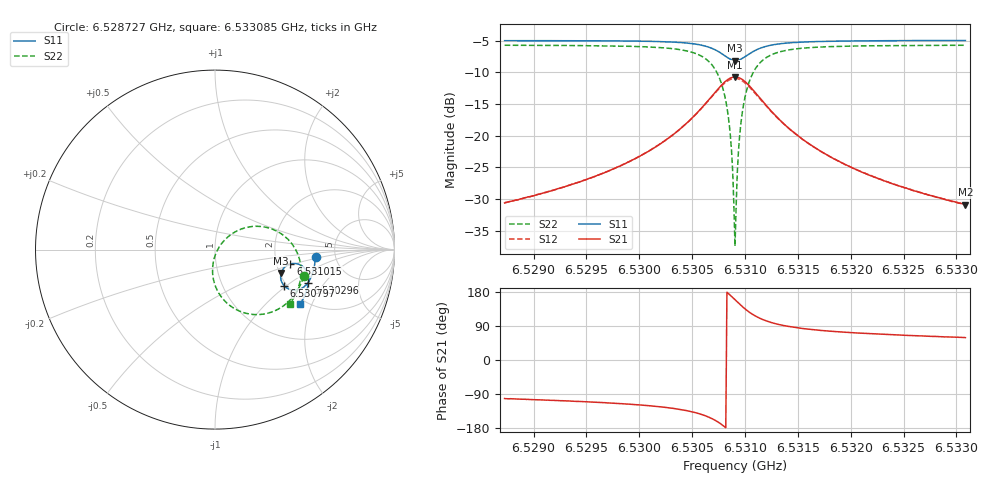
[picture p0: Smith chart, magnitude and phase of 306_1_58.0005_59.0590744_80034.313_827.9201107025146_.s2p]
#  HZ  S  RI  R  50.00
! Rohde & Schwarz Vector Network Analyzer
! Rohde-Schwarz,ZNB20-2Port,1311601062101988,3.16
! Created: UTC 3/21/2024, 1:03:59 AM
! freq[Hz]  re:S11  im:S11  re:S21  im:S21  re:S12  im:S12  re:S22  im:S22
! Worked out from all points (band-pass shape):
!   401 points, 6.528727 GHz to 6.533085 GHz, reference 50 ohm
!   highest |S21| = -10.73 dB at 6.530906 GHz (marker M1); lowest = -30.9 dB at 6.533085 GHz (marker M2)
!   |S21| within 3 dB of the highest: 6.530688 GHz to 6.531124 GHz (435.8 kHz wide, 0.00667 % of centre)
!   lowest |S11| = -8.2 dB at 6.530906 GHz (marker M3), VSWR 2.28, Z = 102 - j31.4 ohm
!   |S11| at or under -10 dB: nowhere
!   |S22| runs from -37.4 to -5.7 dB; largest |S21 - S12| = 0.011
!   S11 on the Smith chart (normalised r, x): 6.528727 GHz: 3.50, -0.45; 6.530296 GHz: 2.59, -1.39; 6.530797 GHz: 1.94, -0.96; 6.531015 GHz: 2.39, -0.47; 6.533085 GHz: 1.84, -1.65
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6.5287267e9  0.5601 -0.0437  -0.00595 -0.0289  -0.00657 -0.0289  0.4947 -0.1495
6.5294567e9  0.5512 -0.1037  -0.0147 -0.0414  -0.0157 -0.0411  0.4661 -0.2157
6.5301866e9  0.5245 -0.1747  -0.0464 -0.071  -0.0484 -0.0699  0.3891 -0.3078
6.5302955e9  0.5157 -0.1876  -0.0589 -0.0788  -0.061 -0.0771  0.3629 -0.3257
6.5306333e9  0.4534 -0.2259  -0.1542 -0.0962  -0.1565 -0.0901  0.1822 -0.357
6.5307313e9  0.4142 -0.2213  -0.2149 -0.0725  -0.2146 -0.0637  0.0789 -0.3087
6.5307967e9  0.3849 -0.2011  -0.2584 -0.0279  -0.2541 -0.0185  0.0123 -0.2266
6.5308512e9  0.3682 -0.1699  -0.28 0.0327  -0.272 0.0403  -0.0138 -0.1225
6.5308729e9  0.3659 -0.1544  -0.2806 0.0611  -0.2717 0.0673  -0.0105 -0.0755
6.5308838e9  0.3661 -0.1464  -0.279 0.0756  -0.2696 0.0811  -0.00542 -0.0519
6.5308947e9  0.3669 -0.1385  -0.2759 0.09  -0.2662 0.0945  0.00199 -0.0285
6.5309056e9  0.3687 -0.1305  -0.2714 0.1041  -0.2614 0.1079  0.0119 -0.00633
6.5309165e9  0.3715 -0.123  -0.2653 0.1177  -0.2555 0.1204  0.0237 0.0149
6.5309274e9  0.375 -0.1157  -0.2582 0.1306  -0.2482 0.1326  0.0376 0.0349
6.5309383e9  0.3791 -0.1089  -0.2497 0.1426  -0.2401 0.1436  0.0534 0.0531
6.5309601e9  0.3894 -0.0971  -0.2301 0.1634  -0.221 0.163  0.0891 0.0841
6.5310146e9  0.4205 -0.0796  -0.1732 0.1946  -0.1669 0.192  0.188 0.1258
6.5310908e9  0.4612 -0.0799  -0.1018 0.1973  -0.0985 0.1945  0.3082 0.1179
6.5311998e9  0.4965 -0.1015  -0.0401 0.1686  -0.0385 0.1672  0.4088 0.0553
6.5316356e9  0.521 -0.1798  0.014 0.0819  0.015 0.0816  0.4794 -0.1283
6.5323655e9  0.5015 -0.2523  0.0167 0.0393  0.0172 0.039  0.452 -0.2433
6.5330845e9  0.474 -0.3053  0.0147 0.0246  0.0152 0.0244  0.4172 -0.3047
